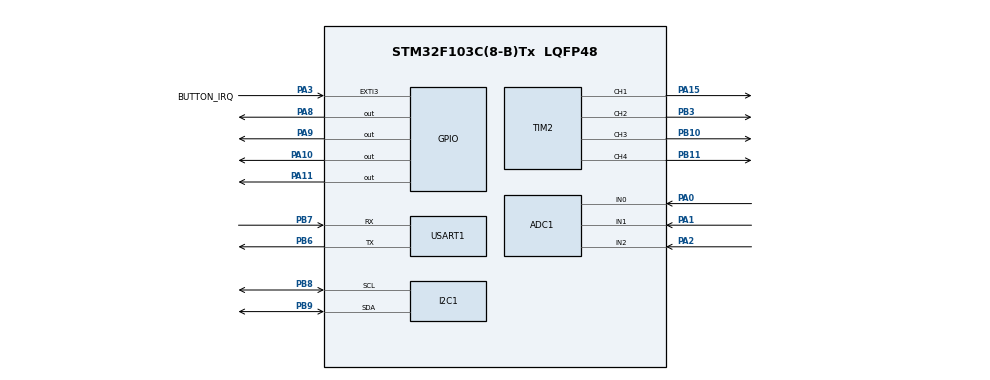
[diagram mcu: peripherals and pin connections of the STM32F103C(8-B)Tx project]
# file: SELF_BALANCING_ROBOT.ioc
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ADC1.Channel-0\#ChannelRegularConversion=ADC_CHANNEL_0
ADC1.Channel-1\#ChannelRegularConversion=ADC_CHANNEL_1
ADC1.Channel-2\#ChannelRegularConversion=ADC_CHANNEL_2
ADC1.ContinuousConvMode=ENABLE
ADC1.NbrOfConversion=3
ADC1.NbrOfConversionFlag=1
ADC1.Rank-0\#ChannelRegularConversion=1
ADC1.Rank-1\#ChannelRegularConversion=2
ADC1.Rank-2\#ChannelRegularConversion=3
ADC1.SamplingTime-0\#ChannelRegularConversion=ADC_SAMPLETIME_239CYCLES_5
ADC1.SamplingTime-1\#ChannelRegularConversion=ADC_SAMPLETIME_239CYCLES_5
ADC1.SamplingTime-2\#ChannelRegularConversion=ADC_SAMPLETIME_239CYCLES_5
ADC1.master=1
Dma.ADC1.0.Direction=DMA_PERIPH_TO_MEMORY
Dma.ADC1.0.Instance=DMA1_Channel1
Dma.ADC1.0.MemDataAlignment=DMA_MDATAALIGN_WORD
Dma.ADC1.0.MemInc=DMA_MINC_ENABLE
Dma.ADC1.0.Mode=DMA_CIRCULAR
Dma.ADC1.0.PeriphDataAlignment=DMA_PDATAALIGN_WORD
Dma.ADC1.0.PeriphInc=DMA_PINC_DISABLE
Dma.ADC1.0.Priority=DMA_PRIORITY_LOW
Dma.Request0=ADC1
Mcu.Family=STM32F1
Mcu.Name=STM32F103C(8-B)Tx
Mcu.Package=LQFP48
NVIC.ADC1_2_IRQn=true\:1\:0\:true\:false\:true\:true\:true\:true
NVIC.DMA1_Channel1_IRQn=true\:0\:0\:false\:false\:true\:false\:true\:true
NVIC.EXTI3_IRQn=true\:0\:0\:false\:false\:true\:true\:true\:true
NVIC.PriorityGroup=NVIC_PRIORITYGROUP_4
PA0-WKUP.Signal=ADCx_IN0
PA1.Signal=ADCx_IN1
PA10.GPIO_PuPd=GPIO_PULLDOWN
PA10.Signal=GPIO_Output
PA11.GPIO_PuPd=GPIO_PULLDOWN
PA11.Signal=GPIO_Output
PA13.Mode=Serial_Wire
PA13.Signal=SYS_JTMS-SWDIO
PA14.Mode=Serial_Wire
PA14.Signal=SYS_JTCK-SWCLK
PA15.Signal=S_TIM2_CH1_ETR
PA2.Signal=ADCx_IN2
PA3.GPIO_Label=BUTTON_IRQ
PA3.GPIO_ModeDefaultEXTI=GPIO_MODE_IT_FALLING
PA3.GPIO_PuPd=GPIO_PULLUP
PA3.Signal=GPXTI3
PA8.GPIO_PuPd=GPIO_PULLDOWN
PA8.Signal=GPIO_Output
PA9.Signal=GPIO_Output
PB10.Signal=S_TIM2_CH3
PB11.Signal=S_TIM2_CH4
PB3.Signal=S_TIM2_CH2
PB6.Mode=Asynchronous
PB6.Signal=USART1_TX
PB7.Mode=Asynchronous
PB7.Signal=USART1_RX
PB8.Mode=I2C
PB8.Signal=I2C1_SCL
PB9.Mode=I2C
PB9.Signal=I2C1_SDA
ProjectManager.HeapSize=0x200
ProjectManager.StackSize=0x400
ProjectManager.TargetToolchain=STM32CubeIDE
RCC.APB1Freq_Value=8000000
RCC.APB2Freq_Value=8000000
SH.ADCx_IN0.0=ADC1_IN0,IN0
SH.ADCx_IN1.0=ADC1_IN1,IN1
SH.ADCx_IN2.0=ADC1_IN2,IN2
SH.S_TIM2_CH1_ETR.0=TIM2_CH1,PWM Generation1 CH1
SH.S_TIM2_CH2.0=TIM2_CH2,PWM Generation2 CH2
SH.S_TIM2_CH3.0=TIM2_CH3,PWM Generation3 CH3
SH.S_TIM2_CH4.0=TIM2_CH4,PWM Generation4 CH4
TIM2.Channel-PWM\ Generation1\ CH1=TIM_CHANNEL_1
TIM2.Channel-PWM\ Generation2\ CH2=TIM_CHANNEL_2
TIM2.Channel-PWM\ Generation3\ CH3=TIM_CHANNEL_3
TIM2.Channel-PWM\ Generation4\ CH4=TIM_CHANNEL_4
USART1.VirtualMode=VM_ASYNC
board=custom

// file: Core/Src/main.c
/* USER CODE BEGIN Header */
/**
  ******************************************************************************
  * @file           : main.c
  * @brief          : Main program body
  ******************************************************************************
  * @attention
  *
  * Copyright (c) 2024 STMicroelectronics.
  * All rights reserved.
  *
  * This software is licensed under terms that can be found in the LICENSE file
  * in the root directory of this software component.
  * If no LICENSE file comes with this software, it is provided AS-IS.
  *
  ******************************************************************************
  */
/* USER CODE END Header */
#include "main.h"

/* USER CODE BEGIN Includes */
#include "pid.h"
#include "motor.h"
#include "mpu6050.h"
#include "adc.h"

/* USER CODE END Includes */

ADC_HandleTypeDef hadc1;
DMA_HandleTypeDef hdma_adc1;

I2C_HandleTypeDef hi2c1;

TIM_HandleTypeDef htim2;

UART_HandleTypeDef huart1;

/* USER CODE BEGIN PV */
uint16_t acc_buff[3];
uint16_t gyro_buff[3];
char hello_msg[] = "Hello this is STM32F103C8T6\n\r";
char pid_p_msg[] = "\n\r Enter values for P : ";
char pid_i_msg[] = "\n\r Enter values for I : ";
char pid_d_msg[] = "\n\r Enter values for D : ";
/* USER CODE END PV */

void SystemClock_Config(void);
static void MX_GPIO_Init(void);
static void MX_DMA_Init(void);
static void MX_I2C1_Init(void);
static void MX_USART1_UART_Init(void);
static void MX_TIM2_Init(void);
static void MX_ADC1_Init(void);
/* USER CODE BEGIN PFP */
void HAL_GPIO_EXTI_Callback(uint16_t GPIO_Pin);
/* USER CODE END PFP */

/* USER CODE BEGIN 0 */
void HAL_ADC_ConvCpltCallback(ADC_HandleTypeDef* hadc)
{
	handler_adc.convCompleted = true;
}

/* USER CODE END 0 */

int main(void)
{

  /* MCU Configuration--------------------------------------------------------*/

  /* Reset of all peripherals, Initializes the Flash interface and the Systick. */
  HAL_Init();

  /* Configure the system clock */
  SystemClock_Config();

  /* Initialize all configured peripherals */
  MX_GPIO_Init();
  MX_DMA_Init();
  MX_I2C1_Init();
  MX_USART1_UART_Init();
  MX_TIM2_Init();
  MX_ADC1_Init();
  /* USER CODE BEGIN 2 */
  // Send Hello message to UART to test transmission
  if(HAL_UART_Transmit(&huart1, (uint8_t*)hello_msg, strlen(hello_msg), HAL_MAX_DELAY) != HAL_OK)
  {
	  Error_Handler();
  }

  //Init IMU
  HAL_Delay(500);
  if(!mpu6050Init()) Error_Handler();

  //Init both motors
  if(!motorInit()) Error_Handler();

  //Init PID controller
  if(!pidInit(1, 0, 0)) Error_Handler();

  //Init ADC
  if(!adcInit()) Error_Handler();

  /* USER CODE END 2 */

  /* Infinite loop */
  while (1)
  {

    /* USER CODE BEGIN 3 */
	motorProcess();
	//  motorTest();
  }
  /* USER CODE END 3 */
}

void SystemClock_Config(void)
{
  RCC_OscInitTypeDef RCC_OscInitStruct = {0};
  RCC_ClkInitTypeDef RCC_ClkInitStruct = {0};
  RCC_PeriphCLKInitTypeDef PeriphClkInit = {0};

  /** Initializes the RCC Oscillators according to the specified parameters
  * in the RCC_OscInitTypeDef structure.
  */
  RCC_OscInitStruct.OscillatorType = RCC_OSCILLATORTYPE_HSI;
  RCC_OscInitStruct.HSIState = RCC_HSI_ON;
  RCC_OscInitStruct.HSICalibrationValue = RCC_HSICALIBRATION_DEFAULT;
  RCC_OscInitStruct.PLL.PLLState = RCC_PLL_NONE;
  if (HAL_RCC_OscConfig(&RCC_OscInitStruct) != HAL_OK)
  {
    Error_Handler();
  }

  /** Initializes the CPU, AHB and APB buses clocks
  */
  RCC_ClkInitStruct.ClockType = RCC_CLOCKTYPE_HCLK|RCC_CLOCKTYPE_SYSCLK
                              |RCC_CLOCKTYPE_PCLK1|RCC_CLOCKTYPE_PCLK2;
  RCC_ClkInitStruct.SYSCLKSource = RCC_SYSCLKSOURCE_HSI;
  RCC_ClkInitStruct.AHBCLKDivider = RCC_SYSCLK_DIV1;
  RCC_ClkInitStruct.APB1CLKDivider = RCC_HCLK_DIV1;
  RCC_ClkInitStruct.APB2CLKDivider = RCC_HCLK_DIV1;

  if (HAL_RCC_ClockConfig(&RCC_ClkInitStruct, FLASH_LATENCY_0) != HAL_OK)
  {
    Error_Handler();
  }
  PeriphClkInit.PeriphClockSelection = RCC_PERIPHCLK_ADC;
  PeriphClkInit.AdcClockSelection = RCC_ADCPCLK2_DIV2;
  if (HAL_RCCEx_PeriphCLKConfig(&PeriphClkInit) != HAL_OK)
  {
    Error_Handler();
  }
}

static void MX_ADC1_Init(void)
{

  ADC_ChannelConfTypeDef sConfig = {0};

  /** Common config
  */
  hadc1.Instance = ADC1;
  hadc1.Init.ScanConvMode = ADC_SCAN_ENABLE;
  hadc1.Init.ContinuousConvMode = ENABLE;
  hadc1.Init.DiscontinuousConvMode = DISABLE;
  hadc1.Init.ExternalTrigConv = ADC_SOFTWARE_START;
  hadc1.Init.DataAlign = ADC_DATAALIGN_RIGHT;
  hadc1.Init.NbrOfConversion = 3;
  if (HAL_ADC_Init(&hadc1) != HAL_OK)
  {
    Error_Handler();
  }

  /** Configure Regular Channel
  */
  sConfig.Channel = ADC_CHANNEL_0;
  sConfig.Rank = ADC_REGULAR_RANK_1;
  sConfig.SamplingTime = ADC_SAMPLETIME_239CYCLES_5;
  if (HAL_ADC_ConfigChannel(&hadc1, &sConfig) != HAL_OK)
  {
    Error_Handler();
  }

  /** Configure Regular Channel
  */
  sConfig.Channel = ADC_CHANNEL_1;
  sConfig.Rank = ADC_REGULAR_RANK_2;
  if (HAL_ADC_ConfigChannel(&hadc1, &sConfig) != HAL_OK)
  {
    Error_Handler();
  }

  /** Configure Regular Channel
  */
  sConfig.Channel = ADC_CHANNEL_2;
  sConfig.Rank = ADC_REGULAR_RANK_3;
  if (HAL_ADC_ConfigChannel(&hadc1, &sConfig) != HAL_OK)
  {
    Error_Handler();
  }

}

static void MX_I2C1_Init(void)
{

  hi2c1.Instance = I2C1;
  hi2c1.Init.ClockSpeed = 100000;
  hi2c1.Init.DutyCycle = I2C_DUTYCYCLE_2;
  hi2c1.Init.OwnAddress1 = 0;
  hi2c1.Init.AddressingMode = I2C_ADDRESSINGMODE_7BIT;
  hi2c1.Init.DualAddressMode = I2C_DUALADDRESS_DISABLE;
  hi2c1.Init.OwnAddress2 = 0;
  hi2c1.Init.GeneralCallMode = I2C_GENERALCALL_DISABLE;
  hi2c1.Init.NoStretchMode = I2C_NOSTRETCH_DISABLE;
  if (HAL_I2C_Init(&hi2c1) != HAL_OK)
  {
    Error_Handler();
  }

}

static void MX_TIM2_Init(void)
{

  TIM_MasterConfigTypeDef sMasterConfig = {0};
  TIM_OC_InitTypeDef sConfigOC = {0};

  htim2.Instance = TIM2;
  htim2.Init.Prescaler = 0;
  htim2.Init.CounterMode = TIM_COUNTERMODE_UP;
  htim2.Init.Period = 65535;
  htim2.Init.ClockDivision = TIM_CLOCKDIVISION_DIV1;
  htim2.Init.AutoReloadPreload = TIM_AUTORELOAD_PRELOAD_DISABLE;
  if (HAL_TIM_PWM_Init(&htim2) != HAL_OK)
  {
    Error_Handler();
  }
  sMasterConfig.MasterOutputTrigger = TIM_TRGO_RESET;
  sMasterConfig.MasterSlaveMode = TIM_MASTERSLAVEMODE_DISABLE;
  if (HAL_TIMEx_MasterConfigSynchronization(&htim2, &sMasterConfig) != HAL_OK)
  {
    Error_Handler();
  }
  sConfigOC.OCMode = TIM_OCMODE_PWM1;
  sConfigOC.Pulse = 0;
  sConfigOC.OCPolarity = TIM_OCPOLARITY_HIGH;
  sConfigOC.OCFastMode = TIM_OCFAST_DISABLE;
  if (HAL_TIM_PWM_ConfigChannel(&htim2, &sConfigOC, TIM_CHANNEL_1) != HAL_OK)
  {
    Error_Handler();
  }
  if (HAL_TIM_PWM_ConfigChannel(&htim2, &sConfigOC, TIM_CHANNEL_2) != HAL_OK)
  {
    Error_Handler();
  }
  if (HAL_TIM_PWM_ConfigChannel(&htim2, &sConfigOC, TIM_CHANNEL_3) != HAL_OK)
  {
    Error_Handler();
  }
  if (HAL_TIM_PWM_ConfigChannel(&htim2, &sConfigOC, TIM_CHANNEL_4) != HAL_OK)
  {
    Error_Handler();
  }
  HAL_TIM_MspPostInit(&htim2);

}

static void MX_USART1_UART_Init(void)
{

  huart1.Instance = USART1;
  huart1.Init.BaudRate = 115200;
  huart1.Init.WordLength = UART_WORDLENGTH_8B;
  huart1.Init.StopBits = UART_STOPBITS_1;
  huart1.Init.Parity = UART_PARITY_NONE;
  huart1.Init.Mode = UART_MODE_TX_RX;
  huart1.Init.HwFlowCtl = UART_HWCONTROL_NONE;
  huart1.Init.OverSampling = UART_OVERSAMPLING_16;
  if (HAL_UART_Init(&huart1) != HAL_OK)
  {
    Error_Handler();
  }

}

static void MX_DMA_Init(void)
{

  /* DMA controller clock enable */
  __HAL_RCC_DMA1_CLK_ENABLE();

  /* DMA interrupt init */
  /* DMA1_Channel1_IRQn interrupt configuration */
  HAL_NVIC_SetPriority(DMA1_Channel1_IRQn, 0, 0);
  HAL_NVIC_EnableIRQ(DMA1_Channel1_IRQn);

}

static void MX_GPIO_Init(void)
{
  GPIO_InitTypeDef GPIO_InitStruct = {0};

  /* GPIO Ports Clock Enable */
  __HAL_RCC_GPIOA_CLK_ENABLE();
  __HAL_RCC_GPIOB_CLK_ENABLE();

  /*Configure GPIO pin Output Level */
  HAL_GPIO_WritePin(GPIOA, GPIO_PIN_8|GPIO_PIN_9|GPIO_PIN_10|GPIO_PIN_11, GPIO_PIN_RESET);

  /*Configure GPIO pin : BUTTON_IRQ_Pin */
  GPIO_InitStruct.Pin = BUTTON_IRQ_Pin;
  GPIO_InitStruct.Mode = GPIO_MODE_IT_FALLING;
  GPIO_InitStruct.Pull = GPIO_PULLUP;
  HAL_GPIO_Init(BUTTON_IRQ_GPIO_Port, &GPIO_InitStruct);

  /*Configure GPIO pins : PA8 PA10 PA11 */
  GPIO_InitStruct.Pin = GPIO_PIN_8|GPIO_PIN_10|GPIO_PIN_11;
  GPIO_InitStruct.Mode = GPIO_MODE_OUTPUT_PP;
  GPIO_InitStruct.Pull = GPIO_PULLDOWN;
  GPIO_InitStruct.Speed = GPIO_SPEED_FREQ_LOW;
  HAL_GPIO_Init(GPIOA, &GPIO_InitStruct);

  /*Configure GPIO pin : PA9 */
  GPIO_InitStruct.Pin = GPIO_PIN_9;
  GPIO_InitStruct.Mode = GPIO_MODE_OUTPUT_PP;
  GPIO_InitStruct.Pull = GPIO_NOPULL;
  GPIO_InitStruct.Speed = GPIO_SPEED_FREQ_LOW;
  HAL_GPIO_Init(GPIOA, &GPIO_InitStruct);

  /* EXTI interrupt init*/
  HAL_NVIC_SetPriority(EXTI3_IRQn, 0, 0);
  HAL_NVIC_EnableIRQ(EXTI3_IRQn);

}

/* USER CODE BEGIN 4 */
void read_pid_value(float* value)
{
	uint8_t buffer[sizeof(float)], rx_char, counter = 0;
	while(huart1.RxState == HAL_UART_STATE_BUSY_RX);
	while(1)
	{
		if(HAL_UART_Receive(&huart1, &rx_char, sizeof(uint8_t), HAL_MAX_DELAY) != HAL_OK)
		{
			Error_Handler();
		}
		if(rx_char == '\n' || rx_char == '\r')
		{
			*value = strtof((char*)buffer, NULL);
			break;
		}
		if(HAL_UART_Transmit(&huart1, &rx_char, sizeof(uint8_t), HAL_MAX_DELAY) != HAL_OK)
		{
		  Error_Handler();
		}
		buffer[counter++] = rx_char;
	}
}

void HAL_GPIO_EXTI_Callback(uint16_t GPIO_Pin)
{
	while(huart1.gState == HAL_UART_STATE_BUSY_TX);
	if(HAL_UART_Transmit(&huart1, (uint8_t*)pid_p_msg, strlen(pid_p_msg), HAL_MAX_DELAY) != HAL_OK)
	{
	  Error_Handler();
	}
	float p = 0, i = 0, d = 0;
	read_pid_value(&p);

	if(HAL_UART_Transmit(&huart1, (uint8_t*)pid_i_msg, strlen(pid_i_msg), HAL_MAX_DELAY) != HAL_OK)
	{
	  Error_Handler();
	}
	read_pid_value(&i);
	if(HAL_UART_Transmit(&huart1, (uint8_t*)pid_d_msg, strlen(pid_d_msg), HAL_MAX_DELAY) != HAL_OK)
	{
	  Error_Handler();
	}
	read_pid_value(&d);

	pidInit(p, i, d);
}
/* USER CODE END 4 */

void Error_Handler(void)
{
  __disable_irq();
  while (1)
  {
  }
}
